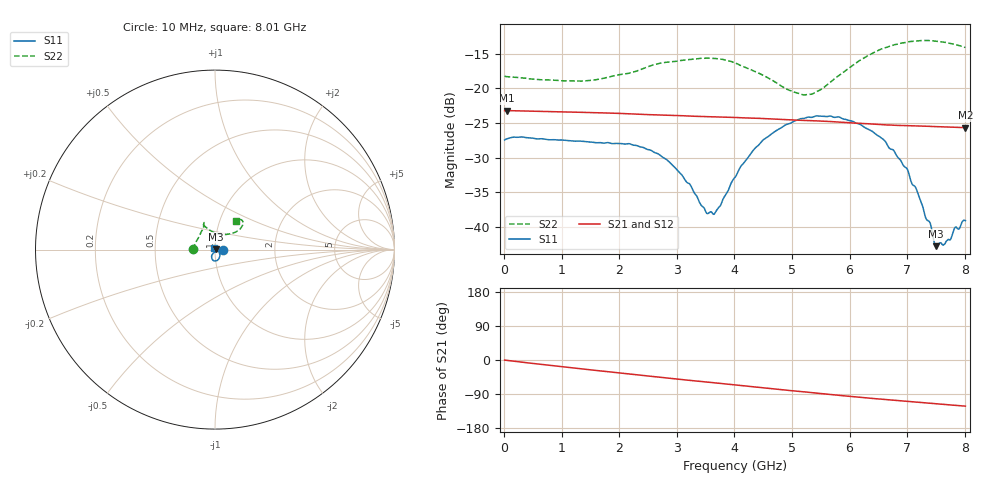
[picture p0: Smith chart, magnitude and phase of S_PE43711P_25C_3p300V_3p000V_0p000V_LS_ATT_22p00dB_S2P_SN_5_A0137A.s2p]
! Device ID: PE43711P
! File Path: z:\PE43711P\CHAR_NOM_04282014\AMB\3p300\LS_ATT_22p00dB\PE43711P_AMB_3p300V_3p000V_0p000V_LS_ATT_22p00dB_S2P_SN_5_A0137A.s2p
! Serial: 5
! Lot: A0137A
! Temp: 25C
! VDD: 3.300
! VSS: 0.000
! Control_Hi: 3.000
! Control_Lo: 0.000
! Attenuation Step: 22.00dB
! Port 1: RF1
! Port 2: RF2
! ThroughPath:1-2
! IDD: 0.0001274133
! ISS: -1.843e-007
#  Hz  S  RI  R  50
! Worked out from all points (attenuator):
!   801 points, 10 MHz to 8.01 GHz, reference 50 ohm
!   highest |S21| = -23.21 dB at 50 MHz (marker M1); lowest = -25.7 dB at 8.01 GHz (marker M2)
!   lowest |S11| = -42.8 dB at 7.5 GHz (marker M3), VSWR 1.01, Z = 50.6 + j0.415 ohm
!   |S11| at or under -10 dB: start of sweep to end of sweep
!   |S22| runs from -20.9 to -13.1 dB; largest |S21 - S12| = 0.00016
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1e7  0.0424 0.00031  0.0691 -0.000297  0.0692 -0.000298  -0.1224 0.000984
5e7  0.0432 0.000323  0.0691 -0.00116  0.0691 -0.00116  -0.1216 0.00328
1.35e9  0.0403 -0.00994  0.0616 -0.0267  0.0617 -0.0267  -0.0951 0.061
2.18e9  0.0384 -0.0105  0.0522 -0.0396  0.0522 -0.0396  -0.0702 0.1084
2.68e9  0.0326 -0.00799  0.0455 -0.0456  0.0455 -0.0456  -0.0635 0.1374
3.07e9  0.023 -0.0072  0.0397 -0.0497  0.0397 -0.0497  -0.062 0.1466
3.54e9  0.00635 -0.0107  0.0327 -0.0532  0.0327 -0.0532  -0.0645 0.1525
3.68e9  0.00111 -0.0129  0.0306 -0.0542  0.0305 -0.0542  -0.0654 0.1508
4.01e9  -0.00987 -0.0205  0.0252 -0.0563  0.0252 -0.0563  -0.064 0.1388
4.32e9  -0.0174 -0.0309  0.0203 -0.0575  0.0203 -0.0575  -0.0508 0.1247
4.52e9  -0.0188 -0.0387  0.0169 -0.0581  0.0169 -0.0581  -0.0396 0.1168
5.02e9  -0.0146 -0.0555  0.00888 -0.0585  0.00883 -0.0585  -0.000705 0.0945
5.35e9  -0.00569 -0.0616  0.00385 -0.0583  0.00388 -0.0583  0.0335 0.0848
6.05e9  0.019 -0.0547  -0.00649 -0.056  -0.00656 -0.056  0.111 0.0958
6.4e9  0.0261 -0.0411  -0.011 -0.0541  -0.011 -0.0542  0.1393 0.1139
6.68e9  0.0263 -0.0265  -0.014 -0.0526  -0.014 -0.0526  0.1515 0.1322
7e9  0.0229 -0.0126  -0.0174 -0.0509  -0.0175 -0.051  0.1563 0.1495
7.39e9  0.0106 0.00171  -0.0217 -0.0485  -0.0217 -0.0485  0.1471 0.166
7.5e9  0.00596 0.0041  -0.0228 -0.0478  -0.0228 -0.0478  0.1419 0.1676
7.65e9  0.00053 0.00747  -0.0242 -0.0468  -0.0242 -0.0468  0.1348 0.1685
7.83e9  -0.00461 0.00872  -0.0259 -0.0456  -0.0259 -0.0455  0.1255 0.1657
8.01e9  -0.00784 0.00782  -0.0274 -0.0443  -0.0275 -0.0442  0.1184 0.1581
